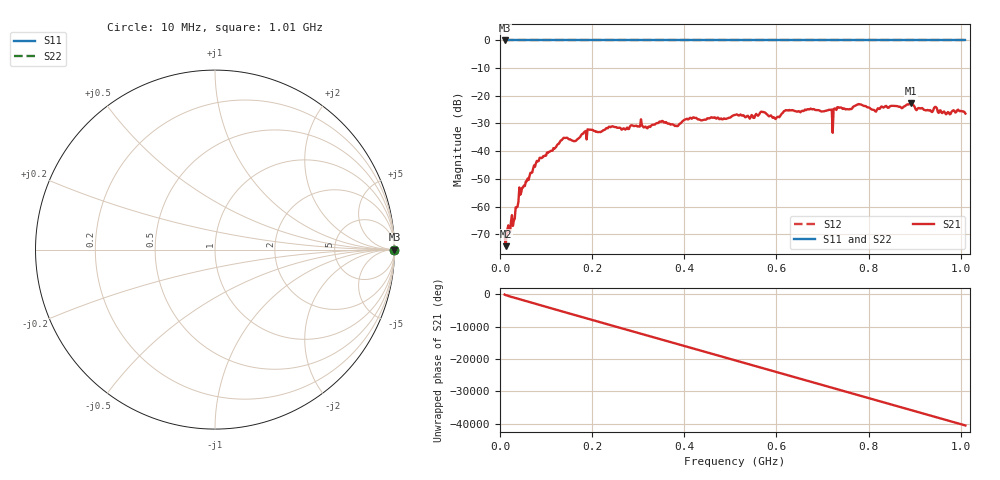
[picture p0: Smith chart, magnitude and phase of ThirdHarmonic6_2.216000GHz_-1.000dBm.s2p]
! 8/17/2025 2:24:00 AM
! C:\ANRITSUVNA\TEMP\TEMP.S2P
! CHANNEL.1
! TR.MEASUREMENT
! RAW.DATA
! RF.CORRECTION.OFF
! AVERAGING.OFF
! IF.BANDWIDTH: 5KHZ
! SWEEPTYPE:  FREQ.SWEEP(Linear)
! Reference Plane Port Info
! PORT:  PORT1  PORT2
! DISTANCE:  0  m  0  m
! TIME:  0  s  0  s
! PHASE.OFFSET:  0  deg.  0  deg.
! LOSS:  0  dB  0  dB
! REF.LOSS:  0  dB  0  dB
! REF.FREQ:  0  Hz  0  Hz
! Power Info
! POWER:  -20  dBm  -20  dBm
! EFF.POWER:  -20  dBm  -20  dBm
! SOURCE.ATTEN:  0  dB  0  dB
! TEST.ATTEN:  0  dB  0  dB
# GHZ S RI R 50.0
! FREQ.GHZ  S11RE  S11IM  S21RE  S21IM  S12RE  S12IM  S22RE  S22IM
!; PortSelection: Port_12
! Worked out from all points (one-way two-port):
!   501 points, 10 MHz to 1.01 GHz, reference 50 ohm
!   highest |S21| = -22.75 dB at 892 MHz (marker M1); lowest = -74.3 dB at 12 MHz (marker M2)
!   lowest |S11| = 0.0 dB at 10 MHz (marker M3)
!   |S11| at or under -10 dB: nowhere
!   |S22| runs from 0.0 to 0.0 dB; largest |S21 - S12| = 1.1
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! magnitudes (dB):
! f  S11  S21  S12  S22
! 10 MHz  0.0  -70.0  0.0  0.0
! 12 MHz  0.0  -74.3  0.0  0.0
! 32 MHz  0.0  -64.4  0.0  0.0
! 46 MHz  0.0  -55.0  0.0  0.0
! 82 MHz  0.0  -43.7  0.0  0.0
! 136 MHz  0.0  -35.6  0.0  0.0
! 162 MHz  0.0  -36.3  0.0  0.0
! 178 MHz  0.0  -33.8  0.0  0.0
! 344 MHz  0.0  -29.8  0.0  0.0
! 382 MHz  0.0  -30.8  0.0  0.0
! 416 MHz  0.0  -28.3  0.0  0.0
! 510 MHz  0.0  -26.9  0.0  0.0
! 570 MHz  0.0  -25.9  0.0  0.0
! 596 MHz  0.0  -28.0  0.0  0.0
! 620 MHz  0.0  -25.2  0.0  0.0
! 678 MHz  0.0  -24.9  0.0  0.0
! 718 MHz  0.0  -25.1  0.0  0.0
! 778 MHz  0.0  -23.0  0.0  0.0
! 812 MHz  0.0  -25.1  0.0  0.0
! 844 MHz  0.0  -24.3  0.0  0.0
! 892 MHz  0.0  -22.8  0.0  0.0
! 1.01 GHz  0.0  -26.4  0.0  0.0
